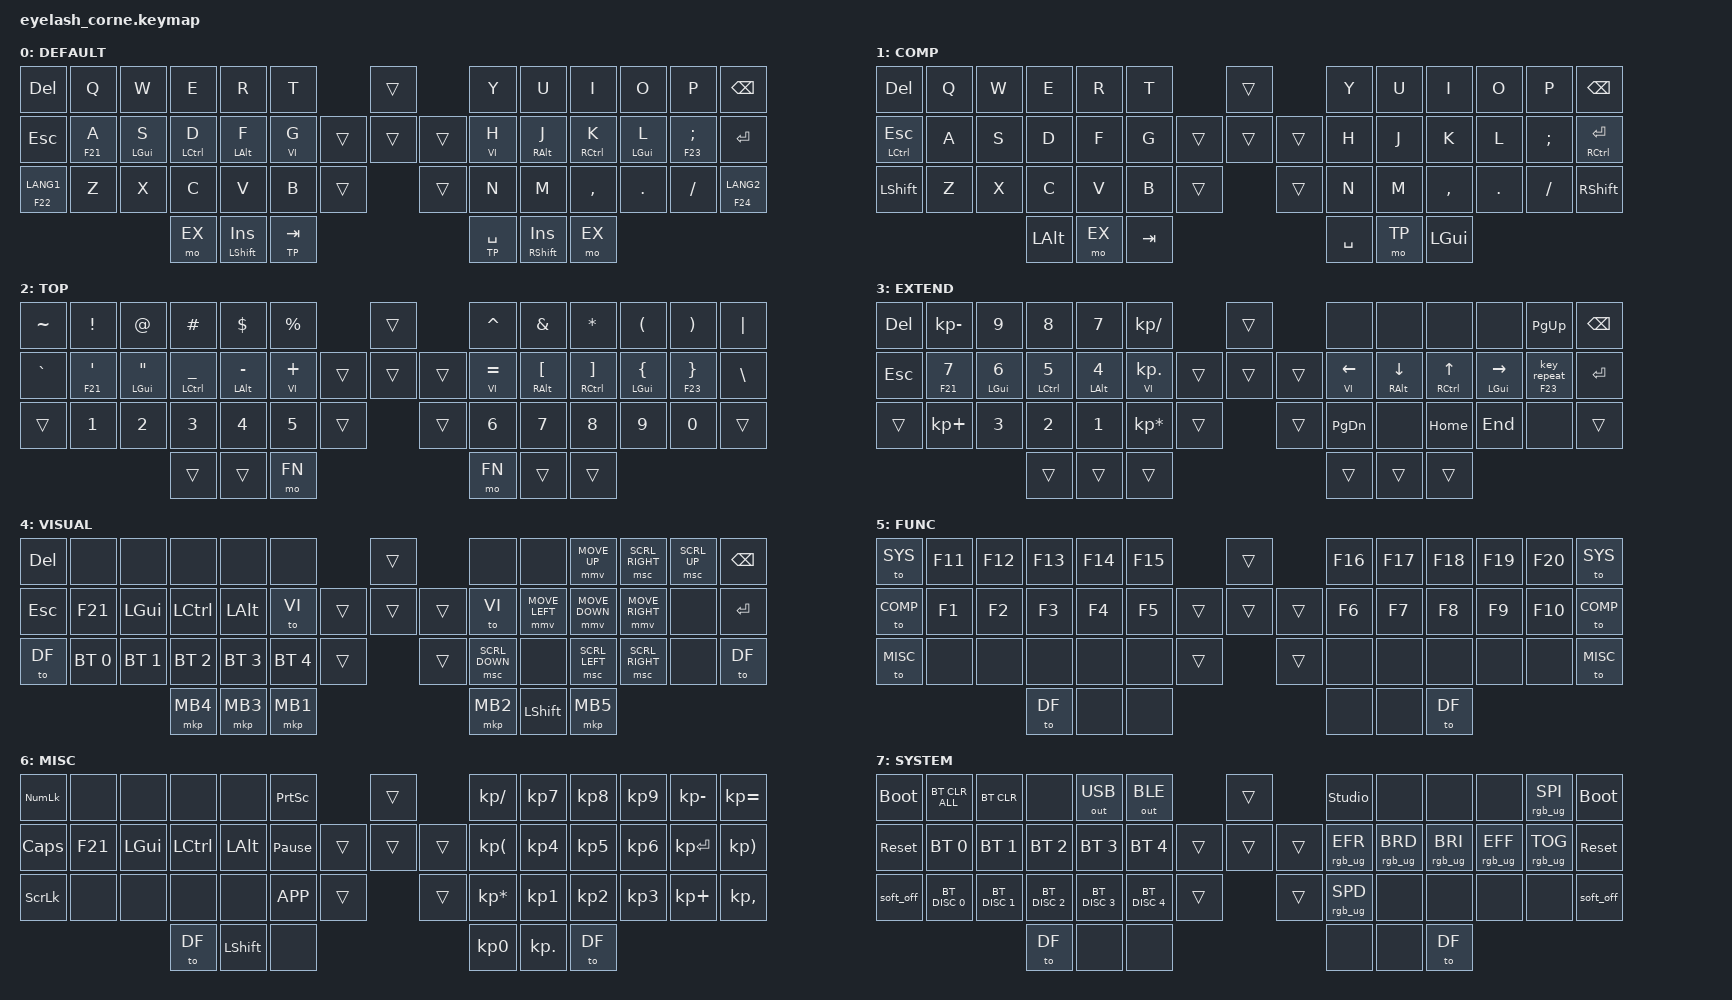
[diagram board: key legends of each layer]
// -*- mode: devicetree-ts; -*-

/* #define ZMK_POINTING_DEFAULT_MOVE_VAL 1200  // 600 */
/* #define ZMK_POINTING_DEFAULT_SCRL_VAL 25   // 10 */

#include <zephyr/dt-bindings/input/input-event-codes.h>
#include <behaviors.dtsi>
#include <dt-bindings/zmk/keys.h>
#include <dt-bindings/zmk/pointing.h>
#include <dt-bindings/zmk/bt.h> // &bt
#include <dt-bindings/zmk/outputs.h> // &out
#include <dt-bindings/zmk/rgb.h> // rgb_ug
#include <input/processors.dtsi>
#include <dt-bindings/zmk/ext_power.h> // &ext_power
// #include <behaviors/runtime-sensor-rotate.dtsi>

#define DF   0 // DEFAULT
#define COMP 1 // COMPATIBLE
#define TP   2 // SYMBOL & TOP
#define EX   3 // EXTEND
#define VI   4 // VISUAL
#define FN   5 // FUNCTION
#define MISC 6 // MISC & MISCELLANEOUS
#define SYS  7 // SYSTEM

// #define LANG PAUSE_BREAK
#define LLANG LANG1
#define RLANG LANG2
#define LHYPR F21
#define LULT F22
#define RHYPR F23
#define RULT F24

#undef LMETA
#undef RMETA
#define LMETA LALT
#define RMETA RALT
#define LSUPR LGUI
#define RSUPR LGUI

// LAYOUT:
// +---+---+---+---+---+---+           +---+       +---+---+---+---+---+---+
// |0   1   2   3   4   5  |           |6  |       |7   8   9   10  11  12 |
// +---+---+---+---+---+---+       +---+---+---+   +---+---+---+---+---+---+
// |13  14  15  16  17  18 |       |19  20  21 |   |22  23  24  25  26  27 |
// +---+---+---+---+---+---+   +---+---+---+---+   +---+---+---+---+---+---+
// |28  29  30  31  32  33 |   |34 |   |35 |       |36  37  38  39  40  41 |
// +---+---+---+---+---+---+   +---+   +---+       +---+---+---+---+---+---+
//             |42  43  44 |                       |45  46  47 |
//             +---+---+---+                       +---+---+---+

&mmv_input_listener { input-processors = <&zip_xy_scaler 2 1>; };

&msc_input_listener { input-processors = <&zip_scroll_scaler 2 1>; };

&msc {
    acceleration-exponent = <1>;  // 0
    time-to-max-speed-ms = <100>; // 300
    delay-ms = <0>;               // 0
};

&mmv {
    time-to-max-speed-ms = <500>;
    acceleration-exponent = <1>;
    trigger-period-ms = <16>;
};

// &soft_off { hold-time-ms = <2000>; };

&caps_word {
    continue-list = <UNDERSCORE MINUS BSPC DEL>; // INS
};

/ {
    rgb_encoder: rgb_encoder {
        compatible = "zmk,behavior-sensor-rotate";
        #sensor-binding-cells = <0>;
        bindings = <&rgb_ug RGB_BRI>, <&rgb_ug RGB_BRD>;
    };
    scroll_encoder: scroll_encoder {
        compatible = "zmk,behavior-sensor-rotate";
        #sensor-binding-cells = <0>;
        bindings = <&msc SCRL_DOWN>, <&msc SCRL_UP>;
        tap-ms = <100>;
    };

    behaviors {
        hml: home_row_mod_left {
            compatible = "zmk,behavior-hold-tap";
            #binding-cells = <2>;
            flavor = "hold-preferred";
            tapping-term-ms = <300>;
            bindings = <&kp>, <&kp>;
            hold-trigger-key-positions = <7 8 9 10 11 12 22 23 24 25 26 27 36 37 38 39 40 41 45 46 47 /* special */ 42 43 44>; // Right keys
            hold-trigger-on-release; // Could triggle in one hand past time
            // hold-while-undecided; // Immediately hold for mouse
        };
        hmr: home_row_mod_right {
            compatible = "zmk,behavior-hold-tap";
            #binding-cells = <2>;
            flavor = "hold-preferred";
            tapping-term-ms = <300>;
            bindings = <&kp>, <&kp>;
            hold-trigger-key-positions = <0 1 2 3 4 5 13 14 15 16 17 18 28 29 30 31 32 33 42 43 44 /* special */ 45 46 47>; // Left keys
            hold-trigger-on-release; // Could triggle in one hand past time
        };

        ltl: layer_tap_left {
            compatible = "zmk,behavior-hold-tap";
            #binding-cells = <2>;
            flavor = "hold-preferred";
            tapping-term-ms = <300>;
            bindings = <&mo>, <&kp>;
            hold-trigger-key-positions = <7 8 9 10 11 12 22 23 24 25 26 27 36 37 38 39 40 41 45 46 47>;
            hold-trigger-on-release; // Could triggle in one hand past time
        };
        ltr: layer_tap_right {
            compatible = "zmk,behavior-hold-tap";
            #binding-cells = <2>;
            flavor = "hold-preferred";
            tapping-term-ms = <300>;
            bindings = <&mo>, <&kp>;
            hold-trigger-key-positions = <0 1 2 3 4 5 13 14 15 16 17 18 28 29 30 31 32 33 42 43 44>;
            hold-trigger-on-release; // Could triggle in one hand past time
        };

        hmr_repeat: mod_tap_repeat {
            compatible = "zmk,behavior-hold-tap";
            #binding-cells = <2>;
            flavor = "hold-preferred";
            bindings = <&kp>, <&key_repeat>;
            tapping-term-ms = <300>;
            hold-trigger-key-positions = <0 1 2 3 4 5 13 14 15 16 17 18 28 29 30 31 32 33 42 43 44>;
            hold-trigger-on-release;
        };

    };

    combos {
        compatible = "zmk,combos";

        combo_capsword {
            layers = <0>; timeout-ms = <50>;
            key-positions = <43 46>;
            bindings = <&caps_word>;
        };
        /* combo_lang { */
        /*     layers = <0>; timeout-ms = <50>; */
        /*     key-positions = <44 45>; */
        /*     // bindings = <&kp LG(SPACE)>; */
        /*     bindings = <&kp PAUSE_BREAK>; */
        /* }; */

        combo_0 {
            layers = <0>; timeout-ms = <50>;
            key-positions = <1 11>;
            bindings = <&kp N0>;
        };
        combo_1 {
            layers = <0>; timeout-ms = <50>;
            key-positions = <14 26>;
            bindings = <&kp N1>;
        };
        combo_2 {
            layers = <0>; timeout-ms = <50>;
            key-positions = <15 25>;
            bindings = <&kp N2>;
        };
        combo_3 {
            layers = <0>; timeout-ms = <50>;
            key-positions = <16 24>;
            bindings = <&kp N3>;
        };
        combo_4 {
            layers = <0>; timeout-ms = <50>;
            key-positions = <17 23>;
            bindings = <&kp N4>;
        };
        combo_5 {
            layers = <0>; timeout-ms = <50>;
            key-positions = <18 22>;
            bindings = <&kp N5>;
        };
        combo_6 {
            layers = <0>; timeout-ms = <50>;
            key-positions = <5 7>;
            bindings = <&kp N6>;
        };
        combo_7 {
            layers = <0>; timeout-ms = <50>;
            key-positions = <4 8>;
            bindings = <&kp N7>;
        };
        combo_8 {
            layers = <0>; timeout-ms = <50>;
            key-positions = <3 9>;
            bindings = <&kp N8>;
        };
        combo_9 {
            layers = <0>; timeout-ms = <50>;
            key-positions = <2 10>;
            bindings = <&kp N9>;
        };

    };

    keymap {
        compatible = "zmk,keymap";

        df_layer {
            display-name = "DEFAULT"; // mt: Mod Tap; mo: Momentory Layer
            bindings = <
//---------      +----------   +----------   +----------   +----------    +----------|  |-------|-------|-------|-------|  |----------   +----------    +----------   +----------   +----------      +----------|
&kp DEL          &kp Q         &kp W         &kp E         &kp R          &kp T                         &trans             &kp Y         &kp U          &kp I         &kp O         &kp P            &kp BSPC
//---------      +----------   +----------   +----------   +----------    +----------|  |-------|-------|-------|-------|  |----------   +----------    +----------   +----------   +----------      +----------|
&kp ESC          &hml LHYPR A  &hml LSUPR S  &hml LCTRL D  &hml LMETA F   &ltl VI G             &trans  &trans  &trans     &ltr VI H     &hmr RMETA J   &hmr RCTRL K  &hmr RSUPR L  &hmr RHYPR SEMI  &kp RET
//---------      +----------   +----------   +----------   +----------    +----------|  |-------|-------|-------|-------|  |----------   +----------    +----------   +----------   +----------      +----------|
&hml LULT LLANG  &kp Z         &kp X         &kp C         &kp V          &kp B         &trans          &trans             &kp N         &kp M          &kp COMMA     &kp DOT       &kp FSLH         &hmr RULT RLANG
//---------      +----------   +----------   +----------   +----------    +----------|  |-------|-------|-------|-------|  |----------   +----------    +----------   +----------   +----------      +----------|
                                             &mo EX        &mt LSHFT INS  &lt TP TAB                                       &lt TP SPACE  &mt RSHFT INS  &mo EX
                                           //+----------   +----------    +----------|  |-------|-------|-------|-------|  |----------   +----------    +----------
            >;
        };

        comp_layer {
            display-name = "COMP";
            bindings = <
//---------     +----------+----------+----------+----------+----------|  |-------|-------|-------|-------|  |----------+----------+----------+----------+----------+----------|
&kp DEL         &kp Q      &kp W      &kp E      &kp R      &kp T                         &trans             &kp Y      &kp U      &kp I      &kp O      &kp P      &kp BSPC
//---------     +----------+----------+----------+----------+----------|  |-------|-------|-------|-------|  |----------+----------+----------+----------+----------+----------|
&hml LCTRL ESC  &kp A      &kp S      &kp D      &kp F      &kp G                 &trans  &trans  &trans     &kp H      &kp J      &kp K      &kp L      &kp SEMI   &hmr RCTRL RET
//---------     +----------+----------+----------+----------+----------|  |-------|-------|-------|-------|  |----------+----------+----------+----------+----------+----------|
&kp LSHFT       &kp Z      &kp X      &kp C      &kp V      &kp B         &trans          &trans             &kp N      &kp M      &kp COMMA  &kp DOT    &kp FSLH   &kp RSHFT
//---------     +----------+----------+----------+----------+----------|  |-------|-------|-------|-------|  |----------+----------+----------+----------+----------+----------|
                                      &kp LMETA  &mo EX     &kp TAB                                          &kp SPACE  &mo TP     &kp RSUPR
                                    //+----------+----------+----------|  |-------|-------|-------|-------|  |----------+----------+----------
            >;
        };

        tp_layer {
            display-name  = "TOP";
            bindings = <
//---------+----------     +----------     +----------       +----------       +----------|  |-------|-------|-------|-------|  |----------    +----------      +----------      +----------      +----------      +----------|
&kp TILDE  &kp EXCL        &kp AT          &kp HASH          &kp DLLR          &kp PRCNT                     &trans             &kp CARET      &kp AMPS         &kp ASTRK        &kp LPAR         &kp RPAR         &kp PIPE
//---------+----------     +----------     +----------       +----------       +----------|  |-------|-------|-------|-------|  |----------    +----------      +----------      +----------      +----------      +----------|
&kp GRAVE  &hml LHYPR SQT  &hml LSUPR DQT  &hml LCTRL UNDER  &hml LMETA MINUS  &ltl VI PLUS          &trans  &trans  &trans     &ltr VI EQUAL  &hmr RMETA LBKT  &hmr RCTRL RBKT  &hmr RSUPR LBRC  &hmr RHYPR RBRC  &kp BSLH
//---------+----------     +----------     +----------       +----------       +----------|  |-------|-------|-------|-------|  |----------    +----------      +----------      +----------      +----------      +----------|
&trans     &kp N1          &kp N2          &kp N3            &kp N4            &kp N5        &trans          &trans             &kp N6         &kp N7           &kp N8           &kp N9           &kp N0           &trans
//---------+----------     +----------     +----------       +----------       +----------|  |-------|-------|-------|-------|  |----------    +----------      +----------      +----------      +----------      +----------|
                                           &trans            &trans            &mo FN                                           &mo FN         &trans           &trans
                                         //+----------       +----------       +----------|  |-------|-------|-------|-------|  |----------    +----------      +----------
            >;
        };

        ex_layer {
            display-name = "EXTEND";
            bindings = <
//---------+----------    +----------    +----------    +----------    +----------|     |-------|-------|-------|-------|  |----------   +----------      +----------    +----------       +----------          +----------|
&kp DEL    &kp KP_MINUS   &kp N9         &kp N8         &kp N7         &kp KP_DIVIDE                    &trans             &none         &none            &none          &none             &kp PG_UP            &kp BSPC
//---------+----------    +----------    +----------    +----------    +----------|     |-------|-------|-------|-------|  |----------   +----------      +----------    +----------       +----------          +----------|
&kp ESC    &hml LHYPR N7  &hml LSUPR N6  &hml LCTRL N5  &hml LMETA N4  &ltl VI KP_DOT           &trans  &trans  &trans     &ltl VI LEFT  &hmr RMETA DOWN  &hmr RCTRL UP  &hmr RSUPR RIGHT  &hmr_repeat RHYPR 0  &kp RET
//---------+----------    +----------    +----------    +----------    +----------|     |-------|-------|-------|-------|  |----------   +----------      +----------    +----------       +----------          +----------|
&trans     &kp KP_PLUS    &kp N3         &kp N2         &kp N1         &kp KP_MULTIPLY  &trans          &trans             &kp PG_DN     &none            &kp HOME       &kp END           &none                &trans
//---------+----------    +----------    +----------    +----------    +----------|     |-------|-------|-------|-------|  |----------   +----------      +----------    +----------       +----------          +----------|
                                         &trans         &trans         &trans                                              &trans        &trans           &trans
                                       //+----------    +----------    +----------|     |-------|-------|-------|-------|  |----------   +----------      +----------
            >;
        };

        vi_layer {
            display-name = "VISUAL";
            bindings = < // mmv: Mouse Move; mkp: Mouse Key Press; msc: Mouse Scroll
//---------+----------   +----------   +----------   +----------   +----------|     |-------|-------|-------|-------|  |----------     +----------     +----------     +----------      +----------     +----------|
&kp DEL    &none         &none         &none         &none         &none                            &trans             &none           &none           &mmv MOVE_UP    &msc SCRL_RIGHT  &msc SCRL_UP    &kp BSPC
//---------+----------   +----------   +----------   +----------   +----------|     |-------|-------|-------|-------|  |----------     +----------     +----------     +----------      +----------     +----------|
&kp ESC    &kp LHYPR     &kp LSUPR     &kp LCTRL     &kp LMETA     &to VI                   &trans  &trans  &trans     &to VI          &mmv MOVE_LEFT  &mmv MOVE_DOWN  &mmv MOVE_RIGHT  &none           &kp RET
//---------+----------   +----------   +----------   +----------   +----------|     |-------|-------|-------|-------|  |----------     +----------     +----------     +----------      +----------     +----------|
&to DF     &bt BT_SEL 0  &bt BT_SEL 1  &bt BT_SEL 2  &bt BT_SEL 3  &bt BT_SEL 4     &trans          &trans             &msc SCRL_DOWN  &none           &msc SCRL_LEFT  &msc SCRL_RIGHT  &none           &to DF
//---------+----------   +----------   +----------   +----------   +----------|     |-------|-------|-------|-------|  |----------     +----------     +----------     +----------      +----------     +----------|
                                       &mkp MB4      &mkp MB3      &mkp MB1                                            &mkp MB2        &kp LSHFT       &mkp MB5
                                     //+----------   +----------   +----------|     |-------|-------|-------|-------|  |----------     +----------     +----------
            >; // &kp C_BRI_DN/UP/DOWN/MIN/MAX C_MUTE C_VOL_DN/UP
        };

        fn_layer {
            display-name = "FUNC";
            bindings = <
//---------+----------    +----------   +----------   +----------   +----------|  |-------|-------|-------|-------|  |----------+----------+----------+----------+----------+----------|
&to SYS    &kp F11        &kp F12       &kp F13       &kp F14       &kp F15                       &trans             &kp F16    &kp F17    &kp F18    &kp F19    &kp F20    &to SYS
//---------+----------    +----------   +----------   +----------   +----------|  |-------|-------|-------|-------|  |----------+----------+----------+----------+----------+----------|
&to COMP   &kp F1         &kp F2        &kp F3        &kp F4        &kp F5                &trans  &trans  &trans     &kp F6     &kp F7     &kp F8     &kp F9     &kp F10    &to COMP
//---------+----------    +----------   +----------   +----------   +----------|  |-------|-------|-------|-------|  |----------+----------+----------+----------+----------+----------|
&to MISC   &none          &none         &none         &none         &none         &trans          &trans             &none      &none      &none      &none      &none      &to MISC
//---------+----------    +----------   +----------   +----------   +----------|  |-------|-------|-------|-------|  |----------+----------+----------+----------+----------+----------|
                                        &to DF        &none         &none                                            &none      &none      &to DF
                                      //+----------   +----------   +----------|  |-------|-------|-------|-------|  |----------+----------+----------
            >;
        };

        misc_layer {
            display-name = "MISC";
            bindings = <
//----------  +---------- +----------+----------+----------+----------|     |-------|-------|-------|-------|  |----------      +---------- +----------   +----------+----------   +----------|
&kp KP_NLCK   &none       &none      &none      &none      &kp PSCRN                        &trans             &kp KP_DIVIDE    &kp KP_N7   &kp KP_N8     &kp KP_N9  &kp KP_MINUS  &kp KP_EQUAL
//----------  +---------- +----------+----------+----------+----------|     |-------|-------|-------|-------|  |----------      +---------- +----------   +----------+----------   +----------|
&kp CAPS      &kp LHYPR   &kp LSUPR  &kp LCTRL  &kp LMETA  &kp PAUSE_BREAK          &trans  &trans  &trans     &kp KP_LPAR      &kp KP_N4   &kp KP_N5     &kp KP_N6  &kp KP_ENTER  &kp KP_RPAR
//----------  +---------- +----------+----------+----------+----------|     |-------|-------|-------|-------|  |----------      +---------- +----------   +----------+----------   +----------|
&kp SLCK      &none       &none      &none      &none      &kp K_APP        &trans          &trans             &kp KP_MULTIPLY  &kp KP_N1   &kp KP_N2     &kp KP_N3  &kp KP_PLUS   &kp KP_COMMA
//----------  +---------- +----------+----------+----------+----------|     |-------|-------|-------|-------|  |----------      +---------- +----------   +----------+----------   +----------|
                                     &to DF     &kp LSHFT  &none                                               &kp KP_N0        &kp KP_DOT  &to DF
                                   //+----------+----------+----------|     |-------|-------|-------|-------|  |----------      +---------- +----------
            >; // kp SYSREQ
        };

        sys_layer {
            display-name = "SYSTEM";
            bindings = < // rgb_ug: RGB Underglow; EFF: Effect forward; EFR: Effect reverse; EP: External Power // BUG: &out make error
//---------  +----------     +----------    +----------    +----------    +----------|   |-------|-------|-------|-------|  |----------      +----------        +----------       +----------      +----------      +----------|
&bootloader  &bt BT_CLR_ALL  &bt BT_CLR     &none          &out OUT_USB   &out OUT_BLE                   &trans             &studio_unlock   &none              &none             &none            &rgb_ug RGB_SPI  &bootloader
//---------  +----------     +----------    +----------    +----------    +----------|   |-------|-------|-------|-------|  |----------      +----------        +----------       +----------      +----------      +----------|
&sys_reset   &bt BT_SEL 0    &bt BT_SEL 1   &bt BT_SEL 2   &bt BT_SEL 3   &bt BT_SEL 4           &trans  &trans  &trans     &rgb_ug RGB_EFR  &rgb_ug RGB_BRD    &rgb_ug RGB_BRI   &rgb_ug RGB_EFF  &rgb_ug RGB_TOG  &sys_reset
//---------  +----------     +----------    +----------    +----------    +----------|   |-------|-------|-------|-------|  |----------      +----------        +----------       +----------      +----------      +----------|
&soft_off    &bt BT_DISC 0   &bt BT_DISC 1  &bt BT_DISC 2  &bt BT_DISC 3  &bt BT_DISC 4  &trans          &trans             &rgb_ug RGB_SPD  &none              &none             &none            &none            &soft_off
//---------  +----------     +----------    +----------    +----------    +----------|   |-------|-------|-------|-------|  |----------      +----------        +----------       +----------      +----------      +----------|
                                            &to DF         &none          &none                                             &none            &none              &to DF
                                          //+----------    +----------    +----------|   |-------|-------|-------|-------|  |----------      +----------        +----------
            >; // &ext_power EP_OFF  &ext_power EP_ON &out OUT_BL OUT_USB OUT_NONE
        };

/*         xxxxxx_layer {                                                                                                                                                      */
/*             display-name = "XXXXXX";                                                                                                                                        */
/*             bindings = <                                                                                                                                                    */
/* //---------+----------+----------+----------+----------+----------|  |-------|-------|-------|-------|  |----------+----------+----------+----------+----------+----------| */
/* &none      &none      &none      &none      &none      &none                         &trans             &none      &none      &none      &none      &none      &none        */
/* //---------+----------+----------+----------+----------+----------|  |-------|-------|-------|-------|  |----------+----------+----------+----------+----------+----------| */
/* &none      &none      &none      &none      &none      &none                 &trans  &trans  &trans     &none      &none      &none      &none      &none      &none        */
/* //---------+----------+----------+----------+----------+----------|  |-------|-------|-------|-------|  |----------+----------+----------+----------+----------+----------| */
/* &none      &none      &none      &none      &none      &none         &trans          &trans             &none      &none      &none      &none      &none      &none        */
/* //---------+----------+----------+----------+----------+----------|  |-------|-------|-------|-------|  |----------+----------+----------+----------+----------+----------| */
/*                                  &trans     &trans     &trans                                           &trans     &trans     &trans                                        */
/* //---------+----------+----------+----------+----------+----------|  |-------|-------|-------|-------|  |----------+----------+----------+----------+----------+----------| */
/*             >;                                                                                                                                                              */
/*         };                                                                                                                                                                  */

    };
};
